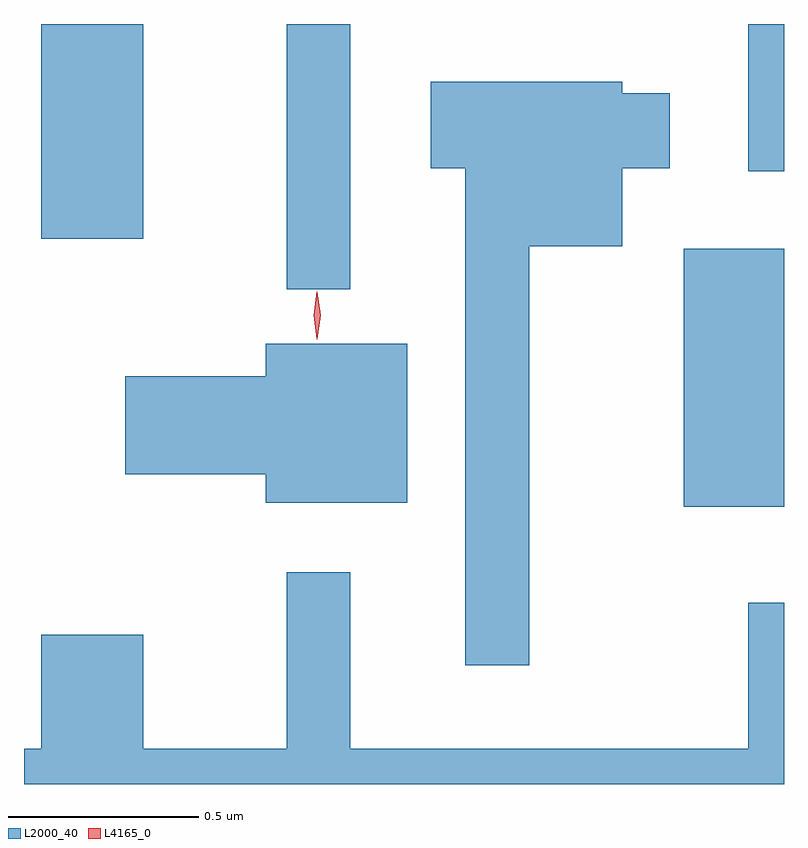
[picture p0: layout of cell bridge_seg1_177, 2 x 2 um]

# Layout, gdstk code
import gdstk
lib = gdstk.Library(unit=1e-6, precision=1e-09)
def R(c, l, rs):  # rectangles x0, y0, x1, y1
    for r in rs: c.add(gdstk.rectangle(r[:2], r[2:], *l))
def P(c, l, *ps):  # polygons
    for p in ps: c.add(gdstk.Polygon(p, *l))
L2000_40 = (2000, 40)
L4165_0 = (4165, 0)

bridge_seg1_177 = lib.new_cell('bridge_seg1_177')
R(bridge_seg1_177, L2000_40, [(696.286,931.561,696.55,932.239), (695.241,932.133,695.409,932.831), (694.596,932.266,694.864,932.831), (696.456,932.443,696.55,932.831)])
P(bridge_seg1_177, L2000_40, [(695.879,932.246),(696.124,932.246),(696.124,932.451),(696.249,932.451),(696.249,932.649),(696.124,932.649),(696.124,932.679),(695.621,932.679),(695.621,932.451),(695.711,932.451),(695.711,931.143),(695.879,931.143)],
  [(695.559,931.989),(695.186,931.989),(695.186,931.904),(694.816,931.904),(694.816,931.646),(695.186,931.646),(695.186,931.571),(695.559,931.571)],
  [(696.55,931.308),(696.456,931.308),(696.456,930.924),(695.409,930.924),(695.409,931.388),(695.241,931.388),(695.241,930.924),(694.864,930.924),(694.864,931.224),(694.596,931.224),(694.596,930.924),(694.55,930.924),(694.55,930.831),(696.55,930.831)])
P(bridge_seg1_177, L4165_0, [(695.321,932.001),(695.321,932.002),(695.312,932.064),(695.321,932.126),(695.321,932.127),(695.322,932.126),(695.331,932.064),(695.322,932.002)])

lib.write_gds('bridge_seg1_177.gds')
